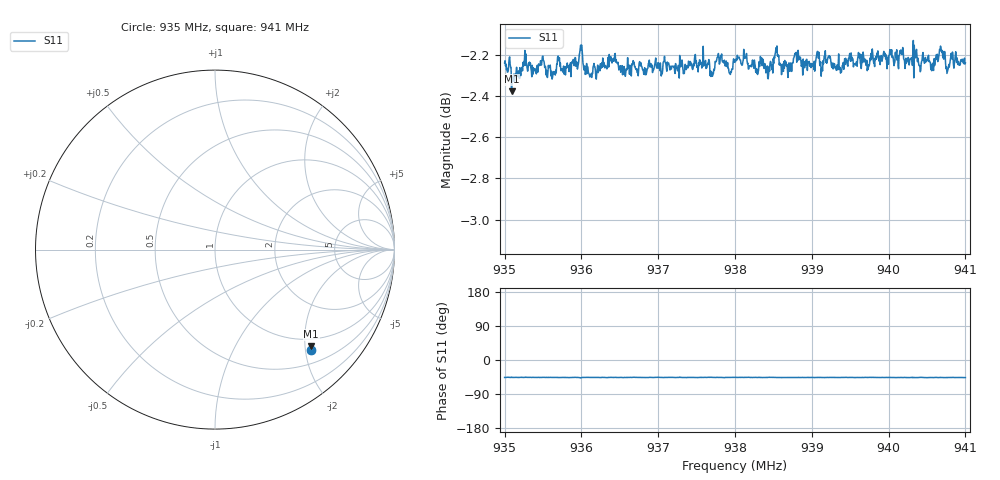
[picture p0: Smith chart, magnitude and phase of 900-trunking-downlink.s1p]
! Calibrated averaged scanner-service zoom
# Hz S RI R 50
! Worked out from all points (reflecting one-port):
!   1001 points, 935 MHz to 941 MHz, reference 50 ohm
!   lowest |S11| = -2.4 dB at 935.09 MHz (marker M1), VSWR 7.36, Z = 41.7 - j107 ohm
!   phase of S11 starts at -46 deg and turns -0 deg over the sweep
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9.35e8  0.5362 -0.5566
9.3509e8  0.5365 -0.5393
9.35258e8  0.5403 -0.5541
9.3575e8  0.5351 -0.5542
9.35936e8  0.5362 -0.557
9.3599e8  0.5272 -0.5756
9.3608e8  0.5374 -0.5531
9.365e8  0.5365 -0.5529
9.3725e8  0.5344 -0.5537
9.37508e8  0.5339 -0.556
9.37688e8  0.5359 -0.5487
9.37838e8  0.5365 -0.5568
9.3794e8  0.5307 -0.555
9.38e8  0.5392 -0.5554
9.38456e8  0.5402 -0.5523
9.3854e8  0.5375 -0.5619
9.3875e8  0.5346 -0.5582
9.39086e8  0.5388 -0.5569
9.39344e8  0.5317 -0.5599
9.395e8  0.5372 -0.5573
9.4025e8  0.5358 -0.5596
9.40352e8  0.5343 -0.5616
9.40424e8  0.5384 -0.5538
9.4049e8  0.5328 -0.5615
9.40574e8  0.5328 -0.5597
9.40688e8  0.5406 -0.5596
9.40766e8  0.529 -0.5582
9.41e8  0.5334 -0.5592
